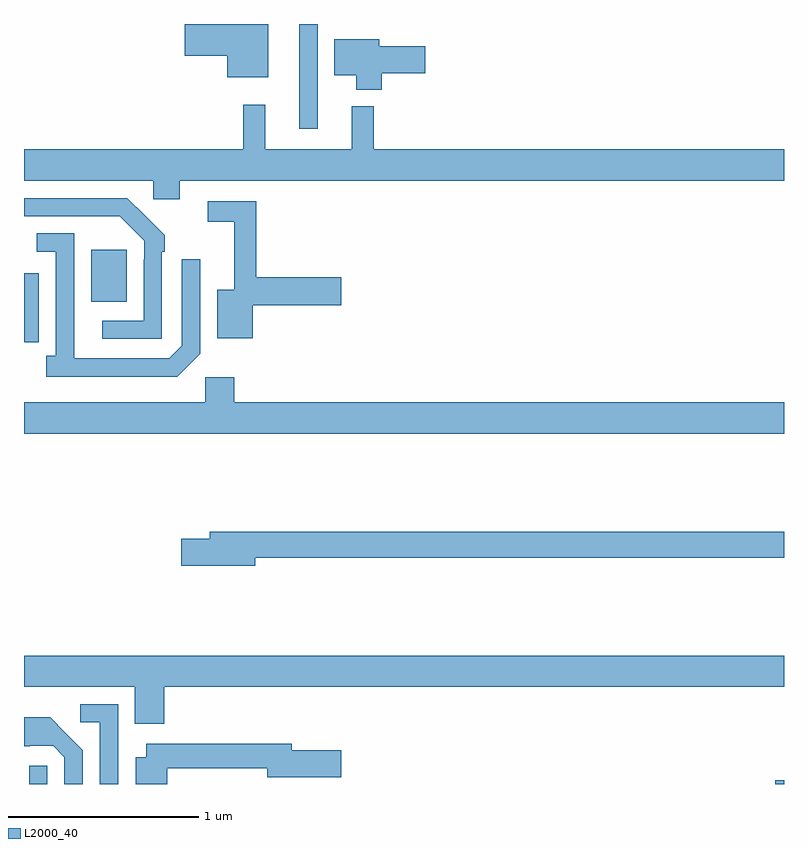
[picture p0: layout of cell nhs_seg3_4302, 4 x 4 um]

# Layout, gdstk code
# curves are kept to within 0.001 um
import gdstk
lib = gdstk.Library(unit=1e-6, precision=1e-09)
def R(c, l, rs):  # rectangles x0, y0, x1, y1
    for r in rs: c.add(gdstk.rectangle(r[:2], r[2:], *l))
def P(c, l, *ps):  # polygons
    for p in ps: c.add(gdstk.Polygon(p, *l))
L2000_40 = (2000, 40)

nhs_seg3_4302 = lib.new_cell('nhs_seg3_4302')
R(nhs_seg3_4302, L2000_40, [(339.027,704.4,339.123,704.497), (342.954,704.4,343,704.42), (339.353,706.937,339.541,707.212), (340.448,707.85,340.545,708.4)])
P(nhs_seg3_4302, L2000_40, [(340.285,708.4),(339.846,708.4),(339.846,708.233),(340.07,708.233),(340.07,708.119),(340.285,708.119)],
  [(340.883,708.142),(341.113,708.142),(341.113,708.284),(340.87,708.284),(340.87,708.319),(340.634,708.319),(340.634,708.131),(340.748,708.131),(340.748,708.053),(340.883,708.053)],
  [(339.82,707.576),(343,707.576),(343,707.74),(340.841,707.74),(340.841,707.968),(340.724,707.968),(340.724,707.74),(340.271,707.74),(340.271,707.974),(340.153,707.974),(340.153,707.74),(339,707.74),(339,707.576),(339.681,707.576),(339.681,707.478),(339.82,707.478)],
  [(339.726,707.201),(339.741,707.201),(339.741,707.289),(339.544,707.484),(339,707.484),(339,707.388),(339.505,707.388),(339.633,707.259),(339.633,707.159),(339.63,707.159),(339.63,706.839),(339.411,706.839),(339.411,706.743),(339.726,706.743)],
  [(340.204,706.919),(340.669,706.919),(340.669,707.066),(340.223,707.066),(340.223,707.466),(339.966,707.466),(339.966,707.358),(340.106,707.358),(340.106,707.002),(340.016,707.002),(340.016,706.745),(340.204,706.745)],
  [(339.927,706.665),(339.927,707.161),(339.831,707.161),(339.831,706.707),(339.765,706.641),(339.265,706.641),(339.264,707.298),(339.066,707.298),(339.066,707.202),(339.168,707.202),(339.168,706.654),(339.117,706.654),(339.117,706.544),(339.806,706.544)],
  [(339.077,706.834),(339.078,706.834),(339.078,707.089),(339,707.089),(339,706.725),(339.077,706.725)],
  [(343,706.408),(340.106,706.408),(340.106,706.54),(339.954,706.54),(339.954,706.408),(339,706.408),(339,706.244),(343,706.244)],
  [(340.216,705.592),(343,705.592),(343,705.728),(339.977,705.728),(339.977,705.692),(339.828,705.692),(339.828,705.55),(340.216,705.55)],
  [(339.737,704.912),(343,704.912),(343,705.076),(339,705.076),(339,704.912),(339.584,704.912),(339.584,704.718),(339.737,704.718)],
  [(339.495,704.82),(339.297,704.82),(339.297,704.724),(339.399,704.724),(339.399,704.4),(339.495,704.4)],
  [(339.309,704.578),(339.217,704.671),(339.137,704.752),(339,704.752),(339,704.6),(339.03,704.6),(339.03,704.601),(339.153,704.601),(339.213,704.541),(339.213,704.4),(339.309,704.4)],
  [(339.754,704.482),(340.28,704.482),(340.28,704.435),(340.669,704.435),(340.669,704.577),(340.408,704.577),(340.408,704.611),(339.644,704.611),(339.644,704.542),(339.587,704.542),(339.587,704.4),(339.754,704.4)])

lib.write_gds('nhs_seg3_4302.gds')
